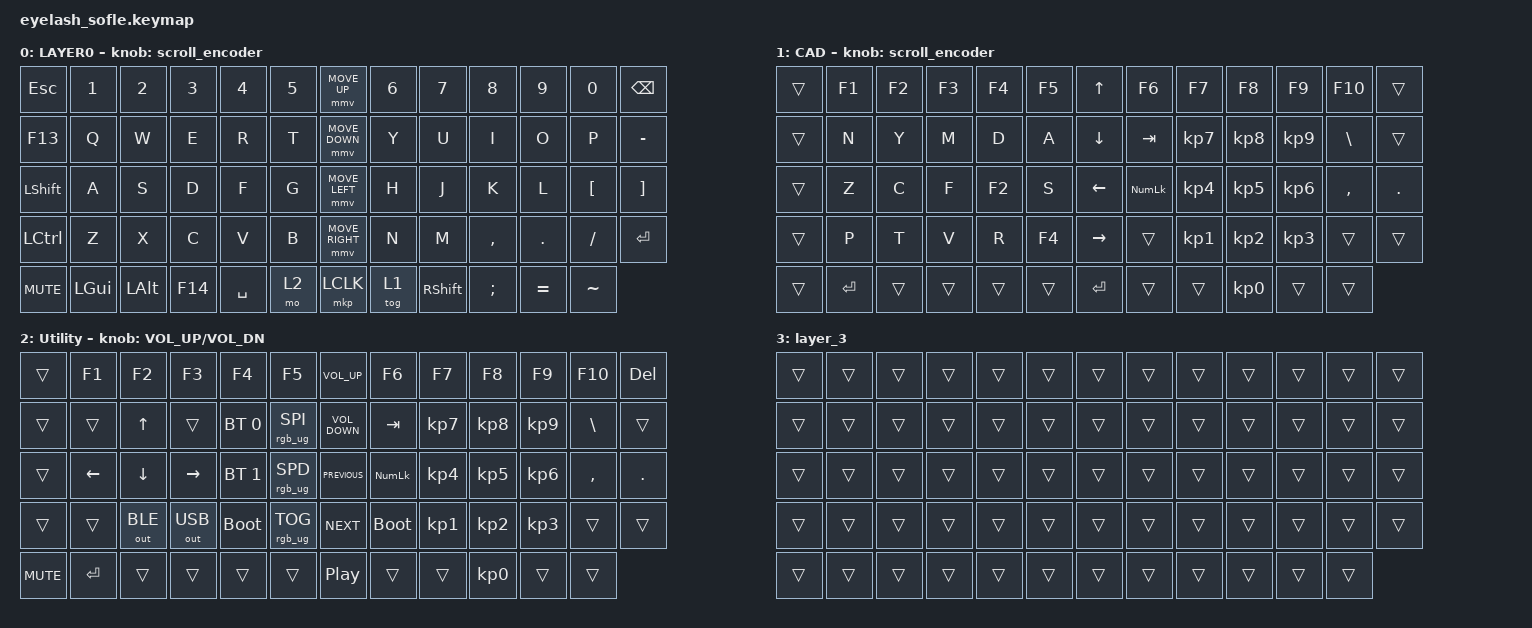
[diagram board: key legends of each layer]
#define ZMK_POINTING_DEFAULT_MOVE_VAL 1200  // 600
#define ZMK_POINTING_DEFAULT_SCRL_VAL 35    // 10

#include <input/processors.dtsi>
#include <zephyr/dt-bindings/input/input-event-codes.h>
#include <behaviors.dtsi>
#include <dt-bindings/zmk/bt.h>
#include <dt-bindings/zmk/keys.h>
#include <dt-bindings/zmk/outputs.h>
#include <dt-bindings/zmk/pointing.h>
#include <dt-bindings/zmk/rgb.h>

/ {
    zip_scroll_scaler: zip_scroll_scaler {
        compatible = "zmk,input-processor-scaler";
        #input-processor-cells = <2>;
        type = <INPUT_EV_REL>;
        codes = <INPUT_REL_WHEEL INPUT_REL_HWHEEL>;
        track-remainders;
    };
};

&mmv_input_listener { input-processors = <&zip_xy_scaler 2 1>; };

&msc_input_listener { input-processors = <&zip_scroll_scaler 2 1>; };

&msc {
    acceleration-exponent = <0>;      // 0
    time-to-max-speed-ms = <0>;       // 300
    delay-ms = <0>;                   // 0
};

&mmv {
    time-to-max-speed-ms = <400>;
    acceleration-exponent = <1>;
};

/ {
    scroll_encoder: scroll_encoder {
        compatible = "zmk,behavior-sensor-rotate";
        #sensor-binding-cells = <0>;
        bindings = <&msc SCRL_DOWN>, <&msc SCRL_UP>;

        tap-ms = <100>;
    };

    macros {
        shift_MB3: shift_MB3 {
            compatible = "zmk,behavior-macro";
            #binding-cells = <0>;
            bindings =
                <&macro_press>,
                <&kp LEFT_SHIFT>,
                <&macro_press>,
                <&mkp MB3>,
                <&macro_pause_for_release>,
                <&macro_release>,
                <&mkp MB3 &kp LEFT_SHIFT>;

            label = "SHIFT_MB3";
        };
    };

    behaviors {
    };

    keymap {
        compatible = "zmk,keymap";

        layer_0 {
            bindings = <
&kp ESC     &kp N1        &kp N2    &kp N3   &kp N4     &kp N5    &mmv MOVE_UP     &kp N6  &kp N7      &kp N8         &kp N9     &kp N0     &kp BACKSPACE
&kp F13     &kp Q         &kp W     &kp E    &kp R      &kp T     &mmv MOVE_DOWN   &kp Y   &kp U       &kp I          &kp O      &kp P      &kp MINUS
&kp LSHIFT  &kp A         &kp S     &kp D    &kp F      &kp G     &mmv MOVE_LEFT   &kp H   &kp J       &kp K          &kp L      &kp LBKT   &kp RBKT
&kp LCTRL   &kp Z         &kp X     &kp C    &kp V      &kp B     &mmv MOVE_RIGHT  &kp N   &kp M       &kp COMMA      &kp DOT    &kp FSLH   &kp ENTER
&kp C_MUTE  &kp LEFT_GUI  &kp LALT  &kp F14  &kp SPACE  &mo 2     &mkp LCLK        &tog 1  &kp RSHIFT  &kp SEMICOLON  &kp EQUAL  &kp TILDE
            >;

            sensor-bindings = <&scroll_encoder>;
            display-name = "LAYER0";
        };

        layer_1 {
            bindings = <
&trans  &kp F1     &kp F2  &kp F3  &kp F4  &kp F5    &kp UP_ARROW     &kp F6          &kp F7           &kp F8           &kp F9           &kp F10    &trans
&trans  &kp N      &kp Y   &kp M   &kp D   &kp A     &kp DOWN_ARROW   &kp TAB         &kp KP_NUMBER_7  &kp KP_NUMBER_8  &kp KP_NUMBER_9  &kp BSLH   &trans
&trans  &kp Z      &kp C   &kp F   &kp F2  &kp S     &kp LEFT_ARROW   &kp KP_NUMLOCK  &kp KP_NUMBER_4  &kp KP_NUMBER_5  &kp KP_NUMBER_6  &kp COMMA  &kp DOT
&trans  &kp P      &kp T   &kp V   &kp R   &kp F4    &kp RIGHT_ARROW  &trans          &kp KP_NUMBER_1  &kp KP_NUMBER_2  &kp KP_NUMBER_3  &trans     &trans
&trans  &kp ENTER  &trans  &trans  &trans  &trans    &kp ENTER        &trans          &trans           &kp KP_NUMBER_0  &trans           &trans
            >;

            sensor-bindings = <&scroll_encoder>;
            display-name = "CAD";
        };

        layer_2 {
            bindings = <
&trans      &kp F1          &kp F2          &kp F3           &kp F4        &kp F5             &kp C_VOLUME_UP    &kp F6          &kp F7           &kp F8           &kp F9           &kp F10        &kp DEL
&trans      &trans          &kp UP_ARROW    &trans           &bt BT_SEL 0  &rgb_ug RGB_SPI    &kp C_VOLUME_DOWN  &kp TAB         &kp KP_NUMBER_7  &kp KP_NUMBER_8  &kp KP_NUMBER_9  &kp BACKSLASH  &trans
&trans      &kp LEFT_ARROW  &kp DOWN_ARROW  &kp RIGHT_ARROW  &bt BT_SEL 1  &rgb_ug RGB_SPD    &kp C_PREVIOUS     &kp KP_NUMLOCK  &kp KP_NUMBER_4  &kp KP_NUMBER_5  &kp KP_NUMBER_6  &kp COMMA      &kp DOT
&trans      &trans          &out OUT_BLE    &out OUT_USB     &bootloader   &rgb_ug RGB_TOG    &kp C_NEXT         &bootloader     &kp KP_NUMBER_1  &kp KP_NUMBER_2  &kp KP_NUMBER_3  &trans         &trans
&kp C_MUTE  &kp ENTER       &trans          &trans           &trans        &trans             &kp C_PLAY_PAUSE   &trans          &trans           &kp KP_NUMBER_0  &trans           &trans
            >;

            sensor-bindings = <&inc_dec_kp C_VOLUME_UP C_VOL_DN>;
            display-name = "Utility";
        };

        layer_3 {
            bindings = <
&trans  &trans  &trans  &trans  &trans  &trans    &trans  &trans  &trans  &trans  &trans  &trans  &trans
&trans  &trans  &trans  &trans  &trans  &trans    &trans  &trans  &trans  &trans  &trans  &trans  &trans
&trans  &trans  &trans  &trans  &trans  &trans    &trans  &trans  &trans  &trans  &trans  &trans  &trans
&trans  &trans  &trans  &trans  &trans  &trans    &trans  &trans  &trans  &trans  &trans  &trans  &trans
&trans  &trans  &trans  &trans  &trans  &trans    &trans  &trans  &trans  &trans  &trans  &trans
            >;

            display-name = "layer_3";
        };
    };
};
